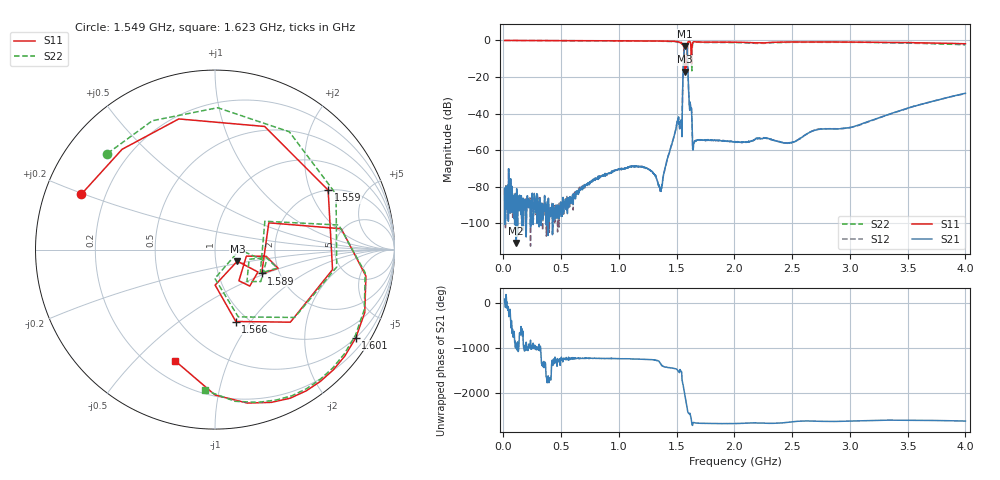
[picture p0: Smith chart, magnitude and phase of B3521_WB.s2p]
! S-Parameter for B3521 in Touchstone format with Magnitude (lin) and Phase
! Normalised impedance: 50 Ohm. Measurement system: 50 Ohm. Ta=25°C
! B3521_WB.S2P not matched. Measurement full 2-port calibrated incl. Port.Ext.
! Start: 10MHz, Stop: 4000MHz, Span 3990MHz 1601 Pts., Step 2.49MHz.
! Date: 21/03/07 - EPCOS SAW COM WT AE PD; AB
# MHZ S MA R 50
! freq  magS11 angS11  magS21 angS21  magS12 angS12  magS22 angS22
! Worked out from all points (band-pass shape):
!   1601 points, 10 MHz to 4 GHz, reference 50 ohm
!   highest |S21| = -3.00 dB at 1.571 GHz (marker M1); lowest = -110.6 dB at 109.8 MHz (marker M2)
!   |S21| within 3 dB of the highest: 1.565 GHz to 1.592 GHz (27.1 MHz wide, 1.72 % of centre)
!   lowest |S11| = -17.1 dB at 1.571 GHz (marker M3), VSWR 1.33, Z = 63.6 - j8.34 ohm
!   |S11| at or under -10 dB: 1.567 GHz to 1.585 GHz (17.5 MHz wide, 1.11 % of centre); 1.587675 GHz to 1.589994 GHz (2.319 MHz wide, 0.146 % of centre); 1.625788 GHz to 1.629349 GHz (3.561 MHz wide, 0.219 % of centre)
!   |S22| runs from -17.2 to 0.0 dB; largest |S21 - S12| = 0.0027
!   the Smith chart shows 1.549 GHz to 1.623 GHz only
!   S11 on the Smith chart (normalised r, x): 1.549 GHz: 0.11, +0.20; 1.559 GHz: 2.00, +2.69; 1.566 GHz: 0.88, -0.85; 1.589 GHz: 1.62, -0.47; 1.601 GHz: 0.50, -3.42; 1.623 GHz: 0.30, -0.66
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10  0.9995 -0.6  9.179e-05 85.2  8.51e-05 89.7  0.9995 -0.6
109.75  0.9978 -6.3  2.945e-06 132.2  4.971e-06 -142.8  0.998 -6.7
675.8312  0.9853 -37.8  9.851e-05 -157.0  0.0001027 -151.5  0.9826 -40.4
1114.731  0.9738 -62.2  0.0003628 -167.3  0.0003658 -167.4  0.9661 -66.9
1269.344  0.9687 -72.3  0.0002862 176.9  0.0002868 177.2  0.9571 -77.7
1341.662  0.9661 -78.0  0.0001083 148.6  0.0001122 145.0  0.9543 -84.2
1371.588  0.962 -80.8  0.0001123 49.7  0.000112 50.3  0.9521 -87.1
1493.781  0.9338 -104.6  0.003896 -29.5  0.003877 -29.4  0.9189 -114.3
1528.694  0.8846 -130.2  0.005988 -44.4  0.005979 -44.1  0.8153 -142.9
1548.644  0.8058 157.4  0.01486 50.0  0.01482 50.0  0.8035 138.3
1558.619  0.7123 27.8  0.245 -71.9  0.245 -72.0  0.742 24.6
1566.1  0.4172 -73.8  0.5663 176.8  0.5642 176.7  0.3967 -70.9
1571.088  0.1401 -27.3  0.7077 97.9  0.7065 97.9  0.1383 -0.1
1588.544  0.2921 -27.1  0.6706 -138.6  0.6689 -138.8  0.2844 -27.5
1601.013  0.9255 -32.0  0.06437 69.1  0.06387 68.8  0.9164 -31.3
1623.456  0.6582 -109.8  0.01487 -30.9  0.01476 -30.8  0.7846 -94.2
1655.875  0.9209 -55.8  0.001771 -151.7  0.001756 -152.1  0.9062 -57.7
2005  0.8976 -91.7  0.001731 -165.6  0.001721 -165.5  0.8741 -98.6
2478.812  0.9087 -107.9  0.001584 -135.5  0.001567 -133.9  0.8884 -118.1
2670.831  0.9096 -115.8  0.00328 -112.3  0.003294 -112.3  0.8908 -127.1
3336.662  0.8867 -142.1  0.009569 -91.9  0.009427 -92.2  0.8666 -158.2
4000  0.8123 -175.4  0.03608 -111.9  0.03531 -112.4  0.7602 162.8
